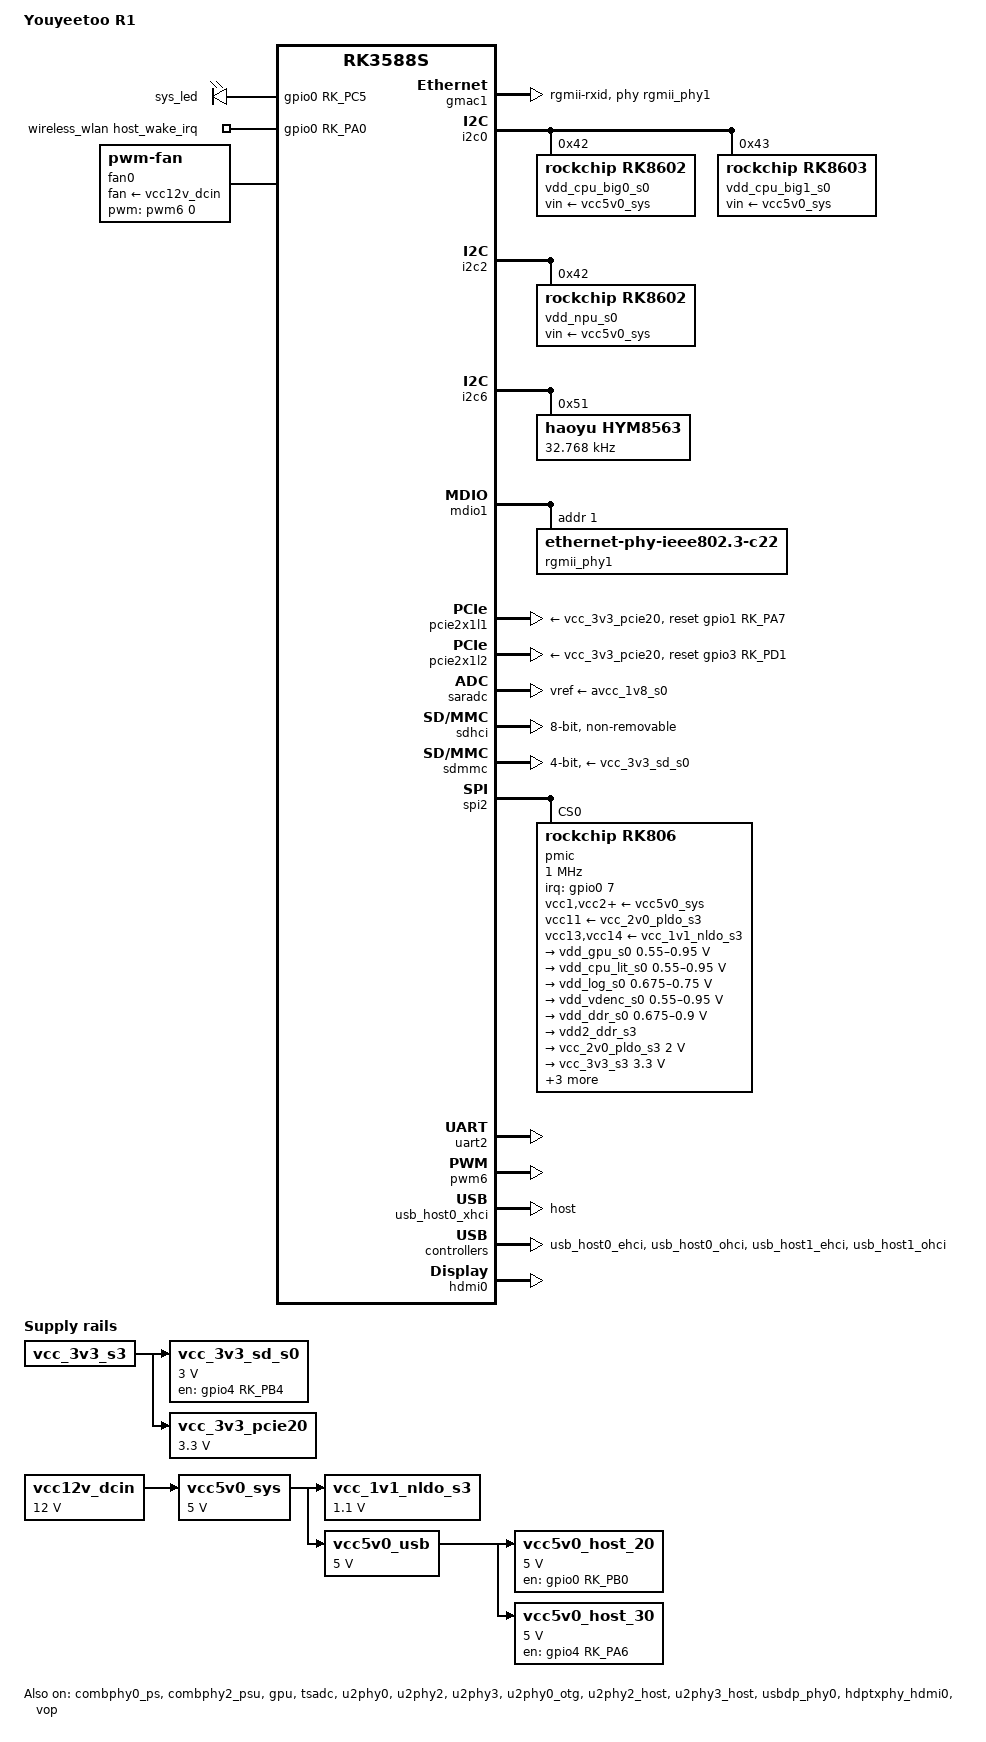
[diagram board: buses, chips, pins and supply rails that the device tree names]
// SPDX-License-Identifier: (GPL-2.0+ OR MIT)

/dts-v1/;

#include <dt-bindings/pinctrl/rockchip.h>
#include <dt-bindings/gpio/gpio.h>
#include <dt-bindings/input/input.h>
#include <dt-bindings/soc/rockchip,vop2.h>
#include "rk3588s.dtsi"

/ {
	model = "Youyeetoo R1";
	compatible = "youyeetoo,r1", "rockchip,rk3588s";

	aliases {
		ethernet0 = &gmac1;
		mmc0 = &sdhci;
		mmc1 = &sdmmc;
		mmc2 = &sdio;
		serial2 = &uart2;
	};

	chosen {
		stdout-path = "serial2:1500000n8";
	};

	leds {
		compatible = "gpio-leds";

		sys_led: led-0 {
			label = "sys_led";
			gpios = <&gpio0 RK_PC5 GPIO_ACTIVE_HIGH>;
			linux,default-trigger = "heartbeat";
			pinctrl-names = "default";
			pinctrl-0 = <&sys_led_pin>;
		};
	};

	/* POWER REGULATOR 12V DC-IN */

	vcc12v_dcin: vcc12v-dcin-regulator {
		compatible = "regulator-fixed";
		regulator-name = "vcc12v_dcin";
		regulator-always-on;
		regulator-boot-on;
		regulator-min-microvolt = <12000000>;
		regulator-max-microvolt = <12000000>;
	};

	/* POWER REGULATOR 5V SYS */

	vcc5v0_sys: vcc5v0-sys-regulator {
		compatible = "regulator-fixed";
		regulator-name = "vcc5v0_sys";
		regulator-always-on;
		regulator-boot-on;
		regulator-min-microvolt = <5000000>;
		regulator-max-microvolt = <5000000>;
		vin-supply = <&vcc12v_dcin>;
	};

	/* POWER REGULATOR CPU */

	vcc_1v1_nldo_s3: vcc-1v1-nldo-s3-regulator {
		compatible = "regulator-fixed";
		regulator-name = "vcc_1v1_nldo_s3";
		regulator-always-on;
		regulator-boot-on;
		regulator-min-microvolt = <1100000>;
		regulator-max-microvolt = <1100000>;
		vin-supply = <&vcc5v0_sys>;
	};

	/* POWER REGULATOR 3V (SD) */

	vcc_3v3_sd_s0: vcc-3v3-sd-s0-regulator {
		compatible = "regulator-fixed";
		regulator-name = "vcc_3v3_sd_s0";
		enable-active-high;
		regulator-boot-on;
		gpio = <&gpio4 RK_PB4 GPIO_ACTIVE_HIGH>;
		pinctrl-names = "default";
		pinctrl-0 = <&sd_s0_pwr>;
		regulator-max-microvolt = <3000000>;
		regulator-min-microvolt = <3000000>;
		vin-supply = <&vcc_3v3_s3>;
	};

	/* POWER REGULATOR 3.3V (PCIE)*/

	vcc_3v3_pcie20: vcc3v3-pcie20-regulator {
		compatible = "regulator-fixed";
		regulator-name = "vcc_3v3_pcie20";
		regulator-always-on;
		regulator-boot-on;
		regulator-min-microvolt = <3300000>;
		regulator-max-microvolt = <3300000>;
		vin-supply = <&vcc_3v3_s3>;
	};

	/* POWER REGULATOR 5V (USB2 & USB3) */

	vcc5v0_usb: vcc5v0-usb-regulator {
		compatible = "regulator-fixed";
		regulator-name = "vcc5v0_usb";
		regulator-always-on;
		regulator-boot-on;
		regulator-min-microvolt = <5000000>;
		regulator-max-microvolt = <5000000>;
		vin-supply = <&vcc5v0_sys>;
	};

	vcc5v0_host_20: vcc5v0-host-20 { // U13 (USB 2.0)
		compatible = "regulator-fixed";
		enable-active-high;
		gpio = <&gpio0 RK_PB0 GPIO_ACTIVE_HIGH>;
		pinctrl-names = "default";
		pinctrl-0 = <&vcc5v0_host20_en>;
		regulator-name = "vcc5v0_host_20";
		regulator-min-microvolt = <5000000>;
		regulator-max-microvolt = <5000000>;
		vin-supply = <&vcc5v0_usb>;
	};

	vcc5v0_host_30: vcc5v0-host-30 { // U12 (USB 3.0)
		compatible = "regulator-fixed";
		enable-active-high;
		gpio = <&gpio4 RK_PA6 GPIO_ACTIVE_HIGH>;
		pinctrl-names = "default";
		pinctrl-0 = <&vcc5v0_host30_en>;
		regulator-name = "vcc5v0_host_30";
		regulator-min-microvolt = <5000000>;
		regulator-max-microvolt = <5000000>;
		vin-supply = <&vcc5v0_usb>;
	};


	/* BLUETOOTH */
	wireless_bluetooth: wireless-bluetooth {
		compatible = "bluetooth-platdata";
		clocks = <&hym8563>;
		clock-names = "ext_clock";
		status = "okay";
	};

	/* WIFI */
	wireless_wlan: wireless-wlan {
		compatible = "wlan-platdata";
		wifi_chip_type = "rtl8852be";
		pinctrl-names = "default";
		pinctrl-0 = <&wifi_host_wake_irq>;
		WIFI,host_wake_irq = <&gpio0 RK_PA0 GPIO_ACTIVE_HIGH>;
		status = "okay";
	};

    	/* FAN */
	fan0: pwm-fan {
		compatible = "pwm-fan";
		#cooling-cells = <2>;
		cooling-levels = <100 160 190 200 215 235 255>;
		pwms = <&pwm6 0 40000 0>;
        	fan-supply = <&vcc12v_dcin>;
	};
};

&combphy0_ps {
	status = "okay";
};

&combphy2_psu {
	status = "okay";
};

&gmac1 {
	clock_in_out = "output";
	phy-handle = <&rgmii_phy1>;
	phy-mode = "rgmii-rxid";
	pinctrl-0 = <&gmac1_miim
		     &gmac1_tx_bus2
		     &gmac1_rx_bus2
		     &gmac1_rgmii_clk
		     &gmac1_rgmii_bus>;
	pinctrl-names = "default";
	tx_delay = <0x42>;
	tx_delay = <0x43>;
	status = "okay";
};

&cpu_b0 {
	cpu-supply = <&vdd_cpu_big0_s0>;
	mem-supply = <&vdd_cpu_big0_mem_s0>;
};

&cpu_b1 {
	cpu-supply = <&vdd_cpu_big0_s0>;
	mem-supply = <&vdd_cpu_big0_mem_s0>;
};

&cpu_b2 {
	cpu-supply = <&vdd_cpu_big1_s0>;
	mem-supply = <&vdd_cpu_big1_mem_s0>;
};

&cpu_b3 {
	cpu-supply = <&vdd_cpu_big1_s0>;
	mem-supply = <&vdd_cpu_big1_mem_s0>;
};

&cpu_l0 {
	cpu-supply = <&vdd_cpu_lit_s0>;
	mem-supply = <&vdd_cpu_lit_mem_s0>;
};

&cpu_l1 {
	cpu-supply = <&vdd_cpu_lit_s0>;
	mem-supply = <&vdd_cpu_lit_mem_s0>;
};

&cpu_l2 {
	cpu-supply = <&vdd_cpu_lit_s0>;
	mem-supply = <&vdd_cpu_lit_mem_s0>;
};

&cpu_l3 {
	cpu-supply = <&vdd_cpu_lit_s0>;
	mem-supply = <&vdd_cpu_lit_mem_s0>;
};

&display_subsystem {
	clocks = <&hdptxphy_hdmi0>;
	clock-names = "hdmi0_phy_pll";
};

&gpu {
	mali-supply = <&vdd_gpu_s0>;
	status = "okay";
};

&i2c0 {
	pinctrl-names = "default";
	pinctrl-0 = <&i2c0m2_xfer>;
	status = "okay";

	vdd_cpu_big0_s0: vdd_cpu_big0_mem_s0: regulator@42 {
		compatible = "rockchip,rk8602";
		reg = <0x42>;
		fcs,suspend-voltage-selector = <1>;
		regulator-name = "vdd_cpu_big0_s0";
		regulator-always-on;
		regulator-boot-on;
		regulator-min-microvolt = <550000>;
		regulator-max-microvolt = <1050000>;
		regulator-ramp-delay = <2300>;
		vin-supply = <&vcc5v0_sys>;

		regulator-state-mem {
			regulator-off-in-suspend;
		};
	};

	vdd_cpu_big1_s0: vdd_cpu_big1_mem_s0: regulator@43 {
		compatible = "rockchip,rk8603", "rockchip,rk8602";
		reg = <0x43>;
		fcs,suspend-voltage-selector = <1>;
		regulator-name = "vdd_cpu_big1_s0";
		regulator-always-on;
		regulator-boot-on;
		regulator-min-microvolt = <550000>;
		regulator-max-microvolt = <1050000>;
		regulator-ramp-delay = <2300>;
		vin-supply = <&vcc5v0_sys>;

		regulator-state-mem {
			regulator-off-in-suspend;
		};
	};
};

&i2c2 {
	status = "okay";

	vdd_npu_s0: vdd_npu_mem_s0: rk8602@42 {
		compatible = "rockchip,rk8602";
		reg = <0x42>;
		fcs,suspend-voltage-selector = <1>;
		regulator-compatible = "rk860x-reg";
		regulator-name = "vdd_npu_s0";
		regulator-min-microvolt = <550000>;
		regulator-max-microvolt = <950000>;
		regulator-ramp-delay = <2300>;
		regulator-boot-on;
		regulator-always-on;
		vin-supply = <&vcc5v0_sys>;

		regulator-state-mem {
			regulator-off-in-suspend;
		};
	};
};

&i2c6 {
    status = "okay";
    pinctrl-names = "default";
    pinctrl-0 = <&i2c6m3_xfer>;

    /* RTC */
    hym8563: hym8563@51 {
        compatible = "haoyu,hym8563";
        reg = <0x51>;
        #clock-cells = <0>;
        clock-frequency = <32768>;
        clock-output-names = "hym8563";
        status = "okay";
    };
};

&package_thermal {
	polling-delay = <1000>;

	trips {
		package_fan0: package-fan0 {
			temperature = <55000>;
			hysteresis = <2000>;
			type = "active";
		};
		package_fan1: package-fan1 {
			temperature = <65000>;
			hysteresis = <2000>;
			type = "active";
		};
	};

	cooling-maps {
		map1 {
			trip = <&package_fan0>;
			cooling-device = <&fan0 THERMAL_NO_LIMIT 1>;
		};
		map2 {
			trip = <&package_fan1>;
			cooling-device = <&fan0 2 THERMAL_NO_LIMIT>;
		};
	};
};


&mdio1 {
	rgmii_phy1: phy@1 {
		compatible = "ethernet-phy-ieee802.3-c22";
		reg = <0x1>;
	};
};

&pcie2x1l1 {
	reset-gpios = <&gpio1 RK_PA7 GPIO_ACTIVE_HIGH>;
	rockchip,init-delay-ms = <100>;
	vpcie3v3-supply = <&vcc_3v3_pcie20>;
	status = "okay";
};

&pcie2x1l2 {
	reset-gpios = <&gpio3 RK_PD1 GPIO_ACTIVE_HIGH>;
	vpcie3v3-supply = <&vcc_3v3_pcie20>;
	status = "okay";
};


&pinctrl {
	/* TODO: SOUND */
	sound {
		hp_detect: hp-detect {
            		rockchip,pins = <1 RK_PC0 RK_FUNC_GPIO &pcfg_pull_none>;
		};
	};
	/* GPIO LEDS */
	gpio-leds {
		sys_led_pin: sys-led-pin {
			rockchip,pins = <0 RK_PC5 RK_FUNC_GPIO &pcfg_pull_none>;

		};
	};
	/* RTC */
	hym8563 {
		rtc_int: rtc-int {
			rockchip,pins = <0 RK_PB0 RK_FUNC_GPIO &pcfg_pull_up>;
		};
	};
	/* SD */
	sdmmc {
		sd_s0_pwr: sd-s0-pwr {
			rockchip,pins = <4 RK_PB4 RK_FUNC_GPIO &pcfg_pull_up>;
		};
	};
	/* USB */
	usb {
		vcc5v0_host20_en: vcc5v0-host20-en { // USB 2.0
		rockchip,pins = <0 RK_PC4 RK_FUNC_GPIO &pcfg_pull_up>;
		};
		vcc5v0_host30_en: vcc5v0-host30-en { // USB 3.0
		rockchip,pins = <4 RK_PA6 RK_FUNC_GPIO &pcfg_pull_up>;
		};
	};
	/* WIRELESS */
	wireless-wlan {
		wifi_host_wake_irq: wifi-host-wake-irq {
			rockchip,pins = <0 RK_PA0 RK_FUNC_GPIO &pcfg_pull_down>;
		};
	};
};

&saradc {
	vref-supply = <&avcc_1v8_s0>;
	status = "okay";
};

&sdhci {
	bus-width = <8>;
	no-sdio;
	no-sd;
	non-removable;
	/* HS400 doesn't work properly -> https://github.com/torvalds/linux/commit/cee572756aa2cb46e959e9797ad4b730b78a050b */
	mmc-hs200-1_8v;
	max-frequency = <200000000>;
	status = "okay";
};

&sdmmc {
	max-frequency = <200000000>;
	no-sdio;
	no-mmc;
	bus-width = <4>;
	cap-mmc-highspeed;
	cap-sd-highspeed;
	disable-wp;
	sd-uhs-sdr104;
	vmmc-supply = <&vcc_3v3_sd_s0>;
	vqmmc-supply = <&vccio_sd_s0>;
	pinctrl-names = "default";
	pinctrl-0 = <&sdmmc_bus4 &sdmmc_clk &sdmmc_cmd &sdmmc_det>;
	status = "okay";
};

&spi2 {
	status = "okay";
	assigned-clocks = <&cru CLK_SPI2>;
	assigned-clock-rates = <200000000>;
	pinctrl-names = "default";
	pinctrl-0 = <&spi2m2_cs0 &spi2m2_pins>;
	num-cs = <1>;

	pmic@0 {
		compatible = "rockchip,rk806";
		spi-max-frequency = <1000000>;
		reg = <0x0>;

		interrupt-parent = <&gpio0>;
		interrupts = <7 IRQ_TYPE_LEVEL_LOW>;

		pinctrl-names = "default";
		pinctrl-0 = <&pmic_pins>, <&rk806_dvs1_null>,
			    <&rk806_dvs2_null>, <&rk806_dvs3_null>;

		system-power-controller;

		vcc1-supply = <&vcc5v0_sys>;
		vcc2-supply = <&vcc5v0_sys>;
		vcc3-supply = <&vcc5v0_sys>;
		vcc4-supply = <&vcc5v0_sys>;
		vcc5-supply = <&vcc5v0_sys>;
		vcc6-supply = <&vcc5v0_sys>;
		vcc7-supply = <&vcc5v0_sys>;
		vcc8-supply = <&vcc5v0_sys>;
		vcc9-supply = <&vcc5v0_sys>;
		vcc10-supply = <&vcc5v0_sys>;
		vcc11-supply = <&vcc_2v0_pldo_s3>;
		vcc12-supply = <&vcc5v0_sys>;
		vcc13-supply = <&vcc_1v1_nldo_s3>;
		vcc14-supply = <&vcc_1v1_nldo_s3>;
		vcca-supply = <&vcc5v0_sys>;

		gpio-controller;
		#gpio-cells = <2>;

		rk806_dvs1_null: dvs1-null-pins {
			pins = "gpio_pwrctrl2";
			function = "pin_fun0";
		};

		rk806_dvs2_null: dvs2-null-pins {
			pins = "gpio_pwrctrl2";
			function = "pin_fudr_moden0";
		};

		rk806_dvs3_null: dvs3-null-pins {
			pins = "gpio_pwrctrl3";
			function = "pin_fun0";
		};

		regulators {
			vdd_gpu_s0: vdd_gpu_mem_s0: dcdc-reg1 {
				regulator-boot-on;
				regulator-min-microvolt = <550000>;
				regulator-max-microvolt = <950000>;
				regulator-ramp-delay = <12500>;
				regulator-name = "vdd_gpu_s0";
				regulator-enable-ramp-delay = <400>;

				regulator-state-mem {
					regulator-off-in-suspend;
				};
			};

			vdd_cpu_lit_s0: vdd_cpu_lit_mem_s0: dcdc-reg2 {
				regulator-always-on;
				regulator-boot-on;
				regulator-min-microvolt = <550000>;
				regulator-max-microvolt = <950000>;
				regulator-ramp-delay = <12500>;
				regulator-name = "vdd_cpu_lit_s0";

				regulator-state-mem {
					regulator-off-in-suspend;
				};
			};

			vdd_log_s0: dcdc-reg3 {
				regulator-always-on;
				regulator-boot-on;
				regulator-min-microvolt = <675000>;
				regulator-max-microvolt = <750000>;
				regulator-ramp-delay = <12500>;
				regulator-name = "vdd_log_s0";

				regulator-state-mem {
					regulator-off-in-suspend;
					regulator-suspend-microvolt = <750000>;
				};
			};

			vdd_vdenc_s0: vdd_vdenc_mem_s0: dcdc-reg4 {
				regulator-always-on;
				regulator-boot-on;
				regulator-min-microvolt = <550000>;
				regulator-max-microvolt = <950000>;
				regulator-init-microvolt = <750000>;
				regulator-ramp-delay = <12500>;
				regulator-name = "vdd_vdenc_s0";

				regulator-state-mem {
					regulator-off-in-suspend;
				};
			};

			vdd_ddr_s0: dcdc-reg5 {
				regulator-always-on;
				regulator-boot-on;
				regulator-min-microvolt = <675000>;
				regulator-max-microvolt = <900000>;
				regulator-ramp-delay = <12500>;
				regulator-name = "vdd_ddr_s0";

				regulator-state-mem {
					regulator-off-in-suspend;
					regulator-suspend-microvolt = <850000>;
				};
			};

			vdd2_ddr_s3: dcdc-reg6 {
				regulator-always-on;
				regulator-boot-on;
				regulator-name = "vdd2_ddr_s3";

				regulator-state-mem {
					regulator-on-in-suspend;
				};
			};

			vcc_2v0_pldo_s3: dcdc-reg7 {
				regulator-always-on;
				regulator-boot-on;
				regulator-min-microvolt = <2000000>;
				regulator-max-microvolt = <2000000>;
				regulator-ramp-delay = <12500>;
				regulator-name = "vdd_2v0_pldo_s3";

				regulator-state-mem {
					regulator-on-in-suspend;
					regulator-suspend-microvolt = <2000000>;
				};
			};

			vcc_3v3_s3: dcdc-reg8 {
				regulator-always-on;
				regulator-boot-on;
				regulator-min-microvolt = <3300000>;
				regulator-max-microvolt = <3300000>;
				regulator-name = "vcc_3v3_s3";

				regulator-state-mem {
					regulator-on-in-suspend;
					regulator-suspend-microvolt = <3300000>;
				};
			};

			vddq_ddr_s0: dcdc-reg9 {
				regulator-always-on;
				regulator-boot-on;
				regulator-name = "vddq_ddr_s0";

				regulator-state-mem {
					regulator-off-in-suspend;
				};
			};

			vcc_1v8_s3: dcdc-reg10 {
				regulator-always-on;
				regulator-boot-on;
				regulator-min-microvolt = <1800000>;
				regulator-max-microvolt = <1800000>;
				regulator-name = "vcc_1v8_s3";

				regulator-state-mem {
					regulator-on-in-suspend;
					regulator-suspend-microvolt = <1800000>;
				};
			};

			avcc_1v8_s0: pldo-reg1 {
				regulator-always-on;
				regulator-boot-on;
				regulator-min-microvolt = <1800000>;
				regulator-max-microvolt = <1800000>;
				regulator-name = "avcc_1v8_s0";

				regulator-state-mem {
					regulator-off-in-suspend;
					regulator-suspend-microvolt = <1800000>;
				};
			};

			vcc_1v8_s0: pldo-reg2 {
				regulator-always-on;
				regulator-boot-on;
				regulator-min-microvolt = <1800000>;
				regulator-max-microvolt = <1800000>;
				regulator-name = "vcc_1v8_s0";

				regulator-state-mem {
					regulator-off-in-suspend;
					regulator-suspend-microvolt = <1800000>;
				};
			};

			avdd_1v2_s0: pldo-reg3 {
				regulator-always-on;
				regulator-boot-on;
				regulator-min-microvolt = <1200000>;
				regulator-max-microvolt = <1200000>;
				regulator-name = "avdd_1v2_s0";

				regulator-state-mem {
					regulator-off-in-suspend;
				};
			};

			vcc_3v3_s0: pldo-reg4 {
				regulator-always-on;
				regulator-boot-on;
				regulator-min-microvolt = <3300000>;
				regulator-max-microvolt = <3300000>;
				regulator-ramp-delay = <12500>;
				regulator-name = "vcc_3v3_s0";

				regulator-state-mem {
					regulator-off-in-suspend;
				};
			};

			vccio_sd_s0: pldo-reg5 {
				regulator-always-on;
				regulator-boot-on;
				regulator-min-microvolt = <1800000>;
				regulator-max-microvolt = <3300000>;
				regulator-ramp-delay = <12500>;
				regulator-name = "vccio_sd_s0";

				regulator-state-mem {
					regulator-off-in-suspend;
				};
			};

			pldo6_s3: pldo-reg6 {
				regulator-always-on;
				regulator-boot-on;
				regulator-min-microvolt = <1800000>;
				regulator-max-microvolt = <1800000>;
				regulator-name = "pldo6_s3";

				regulator-state-mem {
					regulator-on-in-suspend;
					regulator-suspend-microvolt = <1800000>;
				};
			};

			vdd_0v75_s3: nldo-reg1 {
				regulator-always-on;
				regulator-boot-on;
				regulator-min-microvolt = <750000>;
				regulator-max-microvolt = <750000>;
				regulator-name = "vdd_0v75_s3";

				regulator-state-mem {
					regulator-on-in-suspend;
					regulator-suspend-microvolt = <750000>;
				};
			};

			vdd_ddr_pll_s0: nldo-reg2 {
				regulator-always-on;
				regulator-boot-on;
				regulator-min-microvolt = <850000>;
				regulator-max-microvolt = <850000>;
				regulator-name = "vdd_ddr_pll_s0";

				regulator-state-mem {
					regulator-off-in-suspend;
					regulator-suspend-microvolt = <850000>;
				};
			};

			avdd_0v75_s0: nldo-reg3 {
				regulator-always-on;
				regulator-boot-on;
				regulator-min-microvolt = <750000>;
				regulator-max-microvolt = <750000>;
				regulator-name = "avdd_0v75_s0";

				regulator-state-mem {
					regulator-off-in-suspend;
				};
			};

			vdd_0v85_s0: nldo-reg4 {
				regulator-always-on;
				regulator-boot-on;
				regulator-min-microvolt = <850000>;
				regulator-max-microvolt = <850000>;
				regulator-name = "vdd_0v85_s0";

				regulator-state-mem {
					regulator-off-in-suspend;
				};
			};

			vdd_0v75_s0: nldo-reg5 {
				regulator-always-on;
				regulator-boot-on;
				regulator-min-microvolt = <750000>;
				regulator-max-microvolt = <750000>;
				regulator-name = "vdd_0v75_s0";

				regulator-state-mem {
					regulator-off-in-suspend;
				};
			};
		};
	};
};

&uart2 {
	pinctrl-0 = <&uart2m0_xfer>;
	status = "okay";
};

&pwm6{
     status = "okay";
};

&tsadc {
	status = "okay";
};

/* USB */

&u2phy0 {
    status = "okay";
};

&u2phy2 {
    status = "okay";
};

&u2phy3 {
	status = "okay";
};

&u2phy0_otg {
	phy-supply = <&vcc5v0_host_30>;
	status = "okay";
};

&u2phy2_host {
	phy-supply = <&vcc5v0_host_20>;
	status = "okay";
};

&u2phy3_host {
	phy-supply = <&vcc5v0_host_20>;
    status = "okay";
};

&usb_host0_xhci {
	status = "okay";
	dr_mode = "host";
	extcon = <&u2phy0>;
};

&usb_host0_ehci {
	status = "okay";
};

&usb_host0_ohci {
	status = "okay";
};

&usb_host1_ehci {
	status = "okay";
};

&usb_host1_ohci {
	status = "okay";
};

&usbdp_phy0 {
	status = "okay";
};

&hdmi0 {
	enable-gpios = <&gpio4 RK_PB6 GPIO_ACTIVE_HIGH>;
	status = "okay";
	cec-enable = "true";
};

&hdptxphy_hdmi0 {
	status = "okay";
};

&vop_mmu {
	status = "okay";
};

&hdmi0_in {
	hdmi0_in_vp0: endpoint {
		remote-endpoint = <&vp0_out_hdmi0>;
	};
};

&vop {
	status = "okay";
};

&vp0 {
	vp0_out_hdmi0: endpoint@ROCKCHIP_VOP2_EP_HDMI0 {
		reg = <ROCKCHIP_VOP2_EP_HDMI0>;
		remote-endpoint = <&hdmi0_in_vp0>;
	};
};
